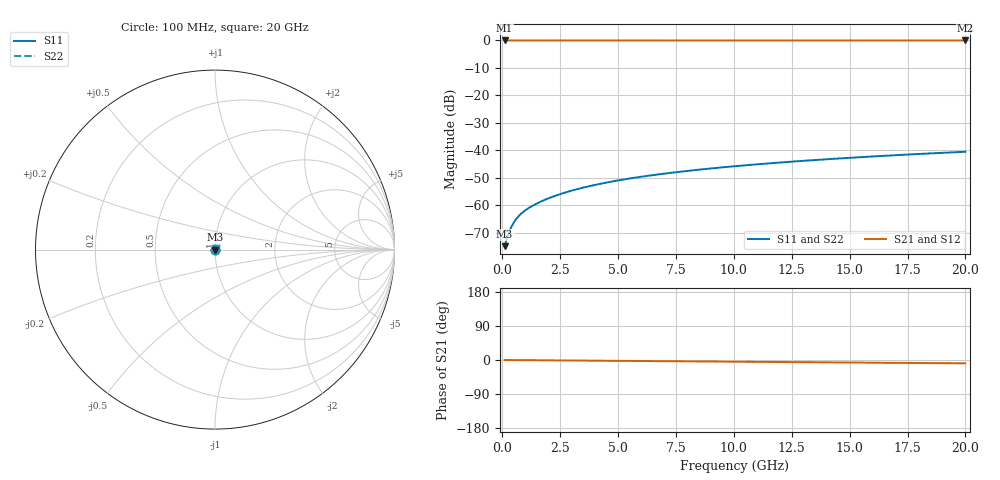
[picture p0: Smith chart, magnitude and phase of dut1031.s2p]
! Touchstone file exported from HFSS 2026.1.0
!  File:  C:/ffzhzh/LocalFiles/Ansys_Project_Files/temp_train_TSV_1031_1783189067_22436.aedt
!  Generated:  02:19:34 AM Jul  5, 2026
!  Design:  TSV
!  Project:  temp_train_TSV_1031_1783189067_22436
! Variables:
!  h_bsmrdl = 2um
!  h_ox = 20um
!  h_rdl = 5um
!  h_sub = 90.25um
!  h_tmrdl = 5um
!  h_tsv = 90.25um
!  h_via = 3um
!  l_bsmrdl = 300um
!  l_sub = 418.84um
!  l_tmrdl = 200um
!  m_sub = 200um
!  pitch = 40.97um
!  r_tsv = 9.42um
!  s_tmrdl = 10um
!  w_bsmrdl = 18um
!  w_sub = 500um
!  w_tmrdl = 12um
!  x_tsv_center1 = 206um
!  x_tsv_center2 = 524um
!  x_tsv_center3 = 736um
!  x_tsv_center4 = 1054um
!  x_tsv_center5 = 1266um
!  x_tsv_center6 = 1584um
# GHz S MA R 50.000000
! Terminal data exported
! Port[1] = TSV1_1_T1
! Port[2] = TSV1_1_T2
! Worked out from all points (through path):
!   200 points, 100 MHz to 20 GHz, reference 50 ohm
!   highest |S21| = 0.00 dB at 100 MHz (marker M1); lowest = 0.0 dB at 20 GHz (marker M2)
!   group delay of S21, straight-line fit = 1.22 ps
!   lowest |S11| = -74.8 dB at 100 MHz (marker M3), VSWR 1.00, Z = 50 + j0.0095 ohm
!   |S11| at or under -10 dB: start of sweep to end of sweep
!   |S22| runs from -74.8 to -40.5 dB; largest |S21 - S12| = 3.3e-15
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0.1  0.000181 31.6  0.9998 -0.0  0.9998 -0.0  0.000181 31.6
! Gamma 0 0 0 0
! Port Impedance 50 0 50 0
0.2  0.0002509 48.2  0.9998 -0.1  0.9998 -0.1  0.0002509 48.2
0.3  0.0003317 55.7  0.9998 -0.1  0.9998 -0.1  0.0003317 55.7
0.4  0.0004127 59.2  0.9998 -0.2  0.9998 -0.2  0.0004127 59.2
0.5  0.0004902 61.0  0.9998 -0.2  0.9998 -0.2  0.0004902 61.0
0.6  0.0005631 62.0  0.9997 -0.3  0.9997 -0.3  0.0005631 62.0
0.7  0.0006315 62.6  0.9997 -0.3  0.9997 -0.3  0.0006315 62.6
0.8  0.0006959 63.1  0.9997 -0.4  0.9997 -0.4  0.0006959 63.1
1  0.0008156 63.9  0.9996 -0.5  0.9996 -0.5  0.0008156 63.9
1.4  0.001034 65.6  0.9996 -0.6  0.9996 -0.6  0.001034 65.6
2  0.001345 67.9  0.9995 -0.9  0.9995 -0.9  0.001345 67.9
2.7  0.001703 69.9  0.9994 -1.2  0.9994 -1.2  0.001703 69.9
3.5  0.002107 71.3  0.9994 -1.6  0.9994 -1.6  0.002107 71.3
4.2  0.002453 72.0  0.9993 -1.9  0.9993 -1.9  0.002453 72.0
5  0.002842 72.6  0.9993 -2.2  0.9993 -2.2  0.002842 72.6
5.9  0.00327 73.0  0.9992 -2.6  0.9992 -2.6  0.00327 73.0
6.8  0.003689 73.3  0.9991 -3.0  0.9991 -3.0  0.003689 73.3
8.3  0.004374 73.5  0.999 -3.7  0.999 -3.7  0.004374 73.5
10.1  0.005182 73.7  0.9989 -4.5  0.9989 -4.5  0.005182 73.7
13.4  0.006637 73.5  0.9988 -5.9  0.9988 -5.9  0.006637 73.5
16.7  0.008062 72.9  0.9986 -7.4  0.9986 -7.4  0.008062 72.9
20  0.009449 72.0  0.9984 -8.8  0.9984 -8.8  0.009449 72.0
